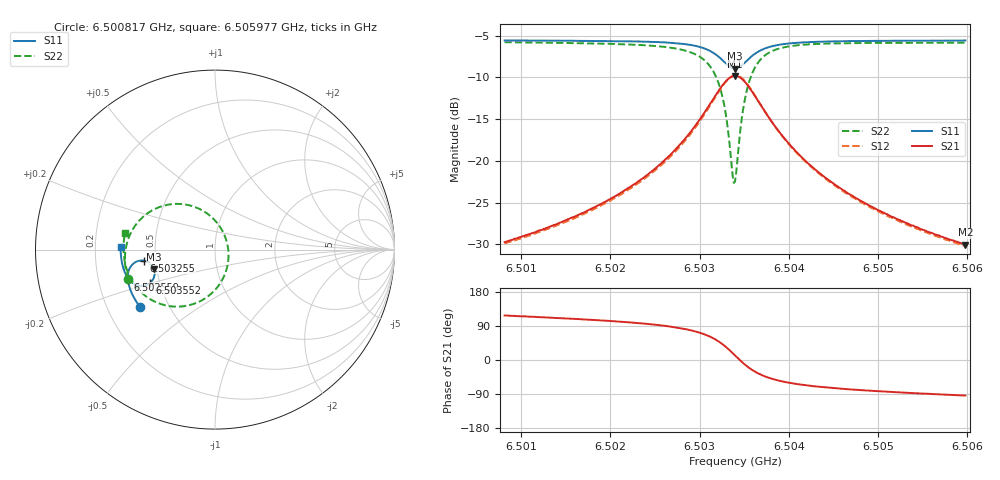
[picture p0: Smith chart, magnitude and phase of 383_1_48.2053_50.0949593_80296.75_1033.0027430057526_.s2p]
#  HZ  S  RI  R  50.00
! Rohde & Schwarz Vector Network Analyzer
! Rohde-Schwarz,ZNB20-2Port,1311601062101988,3.16
! Created: UTC 3/20/2024, 11:53:11 AM
! freq[Hz]  re:S11  im:S11  re:S21  im:S21  re:S12  im:S12  re:S22  im:S22
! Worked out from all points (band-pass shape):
!   401 points, 6.500817 GHz to 6.505977 GHz, reference 50 ohm
!   highest |S21| = -9.81 dB at 6.503397 GHz (marker M1); lowest = -30.0 dB at 6.505977 GHz (marker M2)
!   |S21| within 3 dB of the highest: 6.50314 GHz to 6.503655 GHz (515.4 kHz wide, 0.00792 % of centre)
!   lowest |S11| = -9.0 dB at 6.503397 GHz (marker M3), VSWR 2.11, Z = 24.2 - j6.06 ohm
!   |S11| at or under -10 dB: nowhere
!   |S22| runs from -22.6 to -5.8 dB; largest |S21 - S12| = 0.011
!   S11 on the Smith chart (normalised r, x): 6.500817 GHz: 0.34, -0.30; 6.502559 GHz: 0.33, -0.15; 6.503255 GHz: 0.43, -0.06; 6.503552 GHz: 0.44, -0.20; 6.505977 GHz: 0.31, +0.01
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6.5008174e9  -0.4201 -0.3173  -0.0151 0.029  -0.0133 0.0291  -0.4858 -0.1663
6.5016816e9  -0.4581 -0.2545  -0.0146 0.0464  -0.0122 0.046  -0.5013 -0.0766
6.5021589e9  -0.4754 -0.213  -0.0118 0.0654  -0.00892 0.0643  -0.4994 -0.0106
6.5025459e9  -0.4852 -0.1713  -0.00331 0.0942  0.000298 0.0919  -0.4814 0.0643
6.5025588e9  -0.4854 -0.1696  -0.00285 0.0954  0.000818 0.0932  -0.4803 0.0675
6.5028038e9  -0.4849 -0.1345  0.0152 0.1284  0.019 0.1246  -0.4424 0.1368
6.5029844e9  -0.4738 -0.1013  0.0494 0.1643  0.0527 0.1589  -0.3752 0.2027
6.5031521e9  -0.4395 -0.0682  0.1259 0.1975  0.1272 0.1912  -0.2347 0.2537
6.5032553e9  -0.3973 -0.0611  0.2104 0.1892  0.2106 0.184  -0.0878 0.2272
6.5033069e9  -0.3721 -0.0694  0.2583 0.1619  0.259 0.1574  -0.00809 0.1709
6.5033714e9  -0.3456 -0.0953  0.3058 0.0994  0.3082 0.0946  0.0635 0.0508
6.5033972e9  -0.3393 -0.1095  0.316 0.0678  0.319 0.0622  0.0747 -0.00798
6.5034101e9  -0.3372 -0.1172  0.3187 0.0513  0.3219 0.045  0.0754 -0.0383
6.5034875e9  -0.3429 -0.1614  0.3025 -0.0421  0.3045 -0.0519  0.0194 -0.2018
6.503552e9  -0.3638 -0.1871  0.2606 -0.0958  0.2595 -0.1066  -0.0752 -0.2837
6.5036552e9  -0.4028 -0.2021  0.1872 -0.1317  0.1821 -0.1409  -0.2227 -0.3177
6.5038229e9  -0.4484 -0.1924  0.1069 -0.129  0.1 -0.1341  -0.3675 -0.2722
6.5040035e9  -0.4754 -0.171  0.0631 -0.1096  0.0569 -0.1117  -0.4386 -0.2083
6.5042615e9  -0.496 -0.141  0.0335 -0.0858  0.0288 -0.0863  -0.4814 -0.1371
6.5046484e9  -0.5116 -0.1012  0.0147 -0.0631  0.0115 -0.0628  -0.5035 -0.0627
6.5051257e9  -0.521 -0.0575  0.00494 -0.0469  0.00269 -0.0462  -0.5096 0.00298
6.5059771e9  -0.5258 0.0142  -0.00214 -0.0315  -0.0033 -0.0307  -0.5016 0.0914
